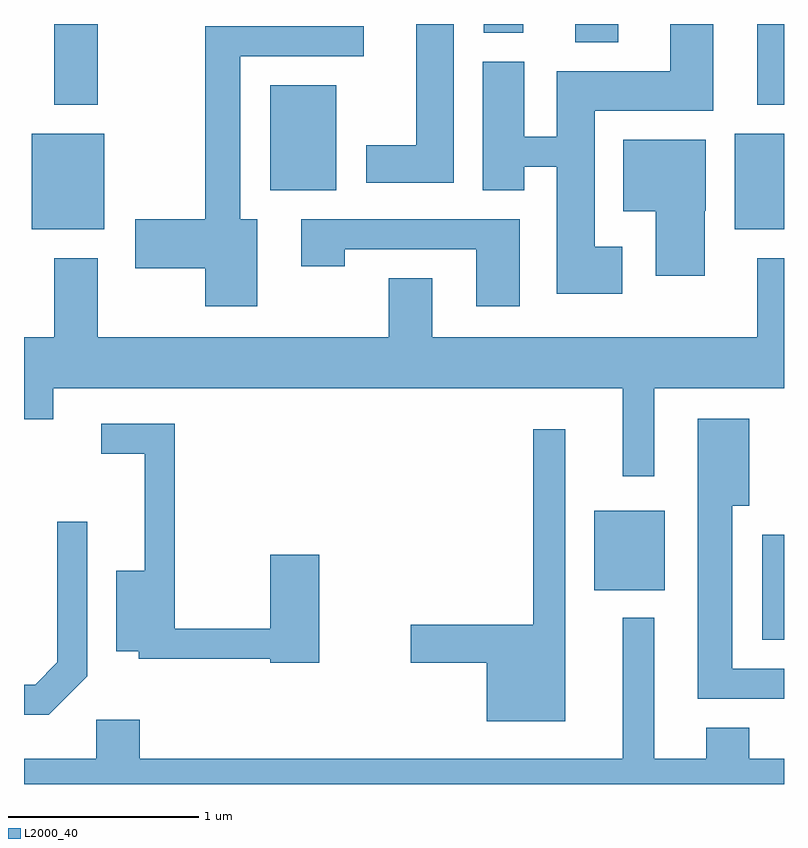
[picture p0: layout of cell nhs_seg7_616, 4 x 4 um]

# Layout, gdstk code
import gdstk
lib = gdstk.Library(unit=1e-6, precision=1e-09)
def R(c, l, rs):  # rectangles x0, y0, x1, y1
    for r in rs: c.add(gdstk.rectangle(r[:2], r[2:], *l))
def P(c, l, *ps):  # polygons
    for p in ps: c.add(gdstk.Polygon(p, *l))
L2000_40 = (2000, 40)

nhs_seg7_616 = lib.new_cell('nhs_seg7_616')
R(nhs_seg7_616, L2000_40, [(207.496,1693.011,207.611,1693.564), (206.611,1693.271,206.984,1693.689), (203.651,1695.171,204.034,1695.674), (207.351,1695.171,207.611,1695.674), (204.906,1695.376,205.254,1695.929), (203.771,1695.826,203.999,1696.252), (207.471,1695.826,207.611,1696.252), (206.511,1696.156,206.739,1696.252), (206.031,1696.206,206.239,1696.252)])
P(nhs_seg7_616, L2000_40, [(206.759,1695.079),(206.614,1695.079),(206.614,1695.796),(207.239,1695.796),(207.239,1696.252),(207.011,1696.252),(207.011,1696.004),(206.416,1696.004),(206.416,1695.659),(206.244,1695.659),(206.244,1696.054),(206.026,1696.054),(206.026,1695.376),(206.244,1695.376),(206.244,1695.501),(206.416,1695.501),(206.416,1694.831),(206.759,1694.831)],
  [(205.874,1696.252),(205.676,1696.252),(205.676,1695.614),(205.411,1695.614),(205.411,1695.416),(205.874,1695.416)],
  [(204.839,1695.224),(204.749,1695.224),(204.749,1696.081),(205.398,1696.081),(205.398,1696.239),(204.566,1696.239),(204.566,1695.224),(204.196,1695.224),(204.196,1694.966),(204.566,1694.966),(204.566,1694.766),(204.839,1694.766)],
  [(207.194,1695.27),(207.199,1695.27),(207.199,1695.644),(206.766,1695.644),(206.766,1695.266),(206.936,1695.266),(206.936,1694.926),(207.194,1694.926)],
  [(206.219,1695.224),(205.071,1695.224),(205.071,1694.976),(205.299,1694.976),(205.299,1695.066),(205.991,1695.066),(205.991,1694.766),(206.219,1694.766)],
  [(206.929,1694.336),(207.611,1694.336),(207.611,1695.019),(207.471,1695.019),(207.471,1694.604),(205.759,1694.604),(205.759,1694.914),(205.531,1694.914),(205.531,1694.604),(203.999,1694.604),(203.999,1695.019),(203.771,1695.019),(203.771,1694.604),(203.611,1694.604),(203.611,1694.171),(203.764,1694.171),(203.764,1694.336),(206.761,1694.336),(206.761,1693.873),(206.929,1693.873)],
  [(207.611,1692.859),(207.339,1692.859),(207.339,1693.716),(207.429,1693.716),(207.429,1694.174),(207.156,1694.174),(207.156,1692.701),(207.611,1692.701)],
  [(205.164,1693.459),(204.906,1693.459),(204.906,1693.069),(204.404,1693.069),(204.404,1694.149),(204.018,1694.149),(204.018,1693.991),(204.246,1693.991),(204.246,1693.374),(204.096,1693.374),(204.096,1692.951),(204.216,1692.951),(204.216,1692.911),(204.906,1692.911),(204.906,1692.891),(205.164,1692.891)],
  [(206.459,1694.118),(206.291,1694.118),(206.291,1693.089),(205.646,1693.089),(205.646,1692.891),(206.046,1692.891),(206.046,1692.581),(206.459,1692.581)],
  [(203.944,1692.819),(203.944,1693.633),(203.786,1693.633),(203.786,1692.892),(203.669,1692.774),(203.611,1692.774),(203.611,1692.616),(203.742,1692.616)],
  [(207.611,1692.384),(207.429,1692.384),(207.429,1692.549),(207.201,1692.549),(207.201,1692.384),(206.929,1692.384),(206.929,1693.128),(206.761,1693.128),(206.761,1692.384),(204.219,1692.384),(204.219,1692.589),(203.991,1692.589),(203.991,1692.384),(203.611,1692.384),(203.611,1692.252),(207.611,1692.252)])

lib.write_gds('nhs_seg7_616.gds')
